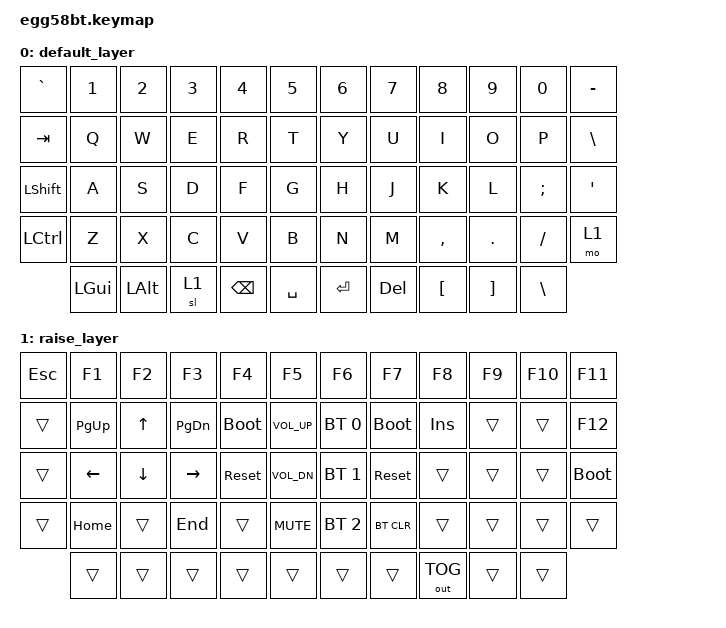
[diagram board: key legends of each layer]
/*
 * Copyright (c) 2023 Travis Mick
 *
 * SPDX-License-Identifier: MIT
 */

#include <behaviors.dtsi>
#include <dt-bindings/zmk/bt.h>
#include <dt-bindings/zmk/keys.h>
#include <dt-bindings/zmk/outputs.h>

/ {
    keymap {
        compatible = "zmk,keymap";

        default_layer {
            bindings = <
&kp GRAVE  &kp N1    &kp N2    &kp N3  &kp N4         &kp N5       &kp N6   &kp N7   &kp N8     &kp N9    &kp N0    &kp MINUS
&kp TAB    &kp Q     &kp W     &kp E   &kp R          &kp T        &kp Y    &kp U    &kp I      &kp O     &kp P     &kp BACKSLASH
&kp LSHFT  &kp A     &kp S     &kp D   &kp F          &kp G        &kp H    &kp J    &kp K      &kp L     &kp SEMI  &kp SQT
&kp LCTRL  &kp Z     &kp X     &kp C   &kp V          &kp B        &kp N    &kp M    &kp COMMA  &kp DOT   &kp FSLH  &mo 1
           &kp LGUI  &kp LALT  &sl 1   &kp BACKSPACE  &kp SPACE    &kp RET  &kp DEL  &kp LBKT   &kp RBKT  &kp BSLH
            >;
        };

        raise_layer {
            bindings = <
&kp ESC  &kp F1     &kp F2    &kp F3     &kp F4       &kp F5          &kp F6        &kp F7       &kp F8        &kp F9  &kp F10  &kp F11
&trans   &kp PG_UP  &kp UP    &kp PG_DN  &bootloader  &kp K_VOL_UP    &bt BT_SEL 0  &bootloader  &kp INS       &trans  &trans   &kp F12
&trans   &kp LEFT   &kp DOWN  &kp RIGHT  &sys_reset   &kp K_VOL_DN    &bt BT_SEL 1  &sys_reset   &trans        &trans  &trans   &bootloader
&trans   &kp HOME   &trans    &kp END    &trans       &kp K_MUTE      &bt BT_SEL 2  &bt BT_CLR   &trans        &trans  &trans   &trans
         &trans     &trans    &trans     &trans       &trans          &trans        &trans       &out OUT_TOG  &trans  &trans
            >;
        };
    };
};
